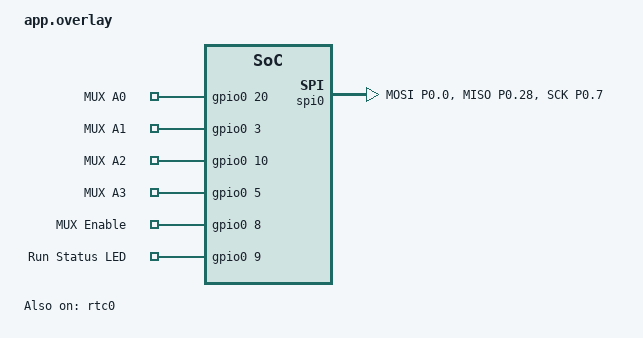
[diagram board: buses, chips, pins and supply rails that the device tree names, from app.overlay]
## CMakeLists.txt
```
#
# Copyright (c) 2018 Nordic Semiconductor
#
# SPDX-License-Identifier: LicenseRef-Nordic-5-Clause
#
cmake_minimum_required(VERSION 3.20.0)

find_package(Zephyr REQUIRED HINTS $ENV{ZEPHYR_BASE})
project(BLE_gas_sensor)

# NORDIC SDK APP START
target_sources(app PRIVATE
  src/main.c
)

# NORDIC SDK APP END
```

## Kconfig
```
#
# Copyright (c) 2018 Nordic Semiconductor
#
# SPDX-License-Identifier: LicenseRef-Nordic-5-Clause
#

source "Kconfig.zephyr"

menu "Nordic UART BLE GATT service sample"

config CONFIG_NFCT_PINS_AS_GPIOS
	bool "Configure NFC pins as GPIOs"
	default y
	help
	  "Configure NFC pins as GPIOs to enable A2 MUX Control Pin."

config BT_NUS_THREAD_STACK_SIZE
	int "Thread stack size"
	default 1024
	help
	  Stack size used in each of the two threads

config BT_NUS_UART_BUFFER_SIZE
	int "UART payload buffer element size"
	default 40
	help
	  Size of the payload buffer in each RX and TX FIFO element

config BT_NUS_SECURITY_ENABLED
	bool "Enable security"
	default y
	select BT_SMP
	help
	  "Enable BLE security for the UART service"

config BT_NUS_UART_RX_WAIT_TIME
	int "Timeout for UART RX complete event"
	default 50000
	help
	  Wait for RX complete event time in microseconds

config SETTINGS
	default y

config ZMS
	default y if (SOC_FLASH_NRF_RRAM || SOC_FLASH_NRF_MRAM)

config NVS
	default y if !(SOC_FLASH_NRF_RRAM || SOC_FLASH_NRF_MRAM)

endmenu
```

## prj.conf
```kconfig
#
# Copyright (c) 2018 Nordic Semiconductor
#
# SPDX-License-Identifier: LicenseRef-Nordic-5-Clause
#

CONFIG_NFCT_PINS_AS_GPIOS=y
CONFIG_GPIO_AS_PINRESET=y

CONFIG_CLOCK_CONTROL_NRF_K32SRC_RC=y
CONFIG_CLOCK_CONTROL_NRF_K32SRC_XTAL=n
CONFIG_CLOCK_CONTROL_NRF_K32SRC_RC_CALIBRATION=y

CONFIG_SPI=y
CONFIG_COUNTER=y
CONFIG_RTC=y

# Enable the UART driver
CONFIG_UART_ASYNC_API=y
CONFIG_NRFX_UARTE0=y
CONFIG_SERIAL=y

CONFIG_GPIO=y

# Make sure printk is printing to the UART console
CONFIG_CONSOLE=y
CONFIG_UART_CONSOLE=y

CONFIG_HEAP_MEM_POOL_SIZE=2048

CONFIG_BT=y
CONFIG_BT_PERIPHERAL=y
CONFIG_BT_DEVICE_NAME="MUX_GAS_SENSOR"
CONFIG_BT_MAX_CONN=1
CONFIG_BT_MAX_PAIRED=1

# Enable the NUS service
CONFIG_BT_NUS=y

# Enable bonding
CONFIG_BT_SETTINGS=y
CONFIG_FLASH=y
CONFIG_FLASH_PAGE_LAYOUT=y
CONFIG_FLASH_MAP=y

# Enable DK LED and Buttons library
CONFIG_DK_LIBRARY=y

CONFIG_SYSTEM_WORKQUEUE_STACK_SIZE=2048
# Config logger
CONFIG_LOG=y
CONFIG_USE_SEGGER_RTT=y
CONFIG_LOG_BACKEND_RTT=y
CONFIG_LOG_BACKEND_UART=n
CONFIG_LOG_PRINTK=n
# CONFIG_LOG_DEFAULT_LEVEL=2

CONFIG_ASSERT=y
```

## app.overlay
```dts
/*
 * Copyright (c) 2022 Nordic Semiconductor ASA
 *
 * SPDX-License-Identifier: LicenseRef-Nordic-5-Clause
 */

&spi1 {
    status = "disabled";
};

&spi2 {
    status = "disabled";
};

/* Configure SPI0 */
&spi0 {
    compatible = "nordic,nrf-spi";
    status = "okay";

    /* Pin configuration using new pinctrl syntax */
    pinctrl-0 = <&spi0_default>;
    pinctrl-1 = <&spi0_sleep>;
    pinctrl-names = "default", "sleep";

    /* CS pins are controlled manually via GPIO in code */
    cs-gpios = <&gpio0 6 (GPIO_ACTIVE_LOW | GPIO_PULL_UP)>,
               <&gpio0 4 (GPIO_ACTIVE_LOW | GPIO_PULL_UP)>;   /* ADC_CS_PIN */
};

/* Define pin configurations for SPI0 */
&pinctrl {
    spi0_default: spi0_default {
        group1 {
            psels = <NRF_PSEL(SPIM_MOSI, 0, 0)>,
                    <NRF_PSEL(SPIM_MISO, 0, 28)>;
        };

        group2 {
            psels = <NRF_PSEL(SPIM_SCK, 0, 7)>;
            bias-pull-up;
        };
    };
    
    spi0_sleep: spi0_sleep {
        group1 {
            psels = <NRF_PSEL(SPIM_SCK, 0, 7)>,
                    <NRF_PSEL(SPIM_MOSI, 0, 0)>,
                    <NRF_PSEL(SPIM_MISO, 0, 28)>;
            low-power-enable;
        };
    };
};

/* GPIO pin definitions for MUX control */
/ {
    aliases {
        mux-a0 = &mux_a0;
        mux-a1 = &mux_a1;
        mux-a2 = &mux_a2;
        mux-a3 = &mux_a3;
        mux-en = &mux_en;
    };

    /* Define GPIO pins used in application */
    gpio_pins {
        compatible = "gpio-keys";

        /* MUX control pins */
        mux_a0: mux_a0 {
            gpios = <&gpio0 20 GPIO_ACTIVE_HIGH>;  /* A0_PIN */
            label = "MUX A0";
        };

        mux_a1: mux_a1 {
            gpios = <&gpio0 3 GPIO_ACTIVE_HIGH>;   /* A1_PIN */
            label = "MUX A1";
        };

        mux_a2: mux_a2 {
            gpios = <&gpio0 10 GPIO_ACTIVE_HIGH>;  /* A2_PIN */
            label = "MUX A2";
        };

        mux_a3: mux_a3 {
            gpios = <&gpio0 5 GPIO_ACTIVE_HIGH>;   /* A3_PIN */
            label = "MUX A3";
        };

        mux_en: mux_en {
            gpios = <&gpio0 8 GPIO_ACTIVE_HIGH>;   /* EN_PIN */
            label = "MUX Enable";
        };

        run_led: run_led {
            gpios = <&gpio0 9 GPIO_ACTIVE_HIGH>;   /* RUN_STATUS_LED */
            label = "Run Status LED";
        };
    };
};

/* Ensure GPIO0 is enabled */
&gpio0 {
    status = "okay";
};

/* Disable unused peripherals to save power/resources */
&uart0 {
    status = "disabled";
};

&i2c0 {
    status = "disabled";
};

&i2c1 {
    status = "disabled";
};
&rtc0 {
    status = "okay";


};

&uicr {
    gpio-as-nreset;
};
```

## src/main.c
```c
/*
 * Copyright (c) 2018 Nordic Semiconductor ASA
 *
 * SPDX-License-Identifier: LicenseRef-Nordic-5-Clause
 */

/** @file
 *  @brief Nordic UART Bridge Service (NUS) sample
 */
#include <uart_async_adapter.h>

#include <zephyr/types.h>
#include <zephyr/kernel.h>
#include <zephyr/drivers/uart.h>
#include <zephyr/usb/usb_device.h>

#include <zephyr/device.h>
#include <zephyr/devicetree.h>
#include <soc.h>

#include <zephyr/bluetooth/bluetooth.h>
#include <zephyr/bluetooth/uuid.h>
#include <zephyr/bluetooth/gatt.h>
#include <zephyr/bluetooth/hci.h>

#include <zephyr/drivers/rtc.h>
#include <time.h>

#ifdef BT_UUID_NUS_VAL
#undef BT_UUID_NUS_VAL
#endif

#ifdef BT_UUID_NUS_TX_VAL
#undef BT_UUID_NUS_TX_VAL
#endif

// Define custom UUIDs

#define BT_UUID_NUS_VAL \
    BT_UUID_128_ENCODE(0x0000AAAA, 0x1212, 0xEFDE, 0x1523, 0x785FEF13D123)

#define BT_UUID_NUS_TX_VAL 0x1111

#include <bluetooth/services/nus.h>

#include <dk_buttons_and_leds.h>

#include <zephyr/settings/settings.h>

#include <stdio.h>
#include <string.h>
#include <stdint.h>

#include <zephyr/logging/log.h>

#include <zephyr/drivers/gpio.h>
#include <zephyr/drivers/spi.h>
#include <zephyr/drivers/counter.h>

#define BREADBOARD 0 // Set 1 for breadboard, 0 for PCB

// Get RTC Device
#define RTC_NODE DT_NODELABEL(rtc0)
static const struct device *rtc_dev = DEVICE_DT_GET(RTC_NODE);

// MUX Pins
#define A0_PIN 20
#define A1_PIN 3
#define A2_PIN 10
#define A3_PIN 5
#define EN_PIN 8

// SPI Chip Select Pins
#define DAC_CS_PIN 6
#define ADC_CS_PIN 4

// Get GPIO device
#define GPIO_NODE DT_NODELABEL(gpio0)
static const struct device *gpio_dev = DEVICE_DT_GET(GPIO_NODE);

// Get SPI Device
#define SPI_NODE DT_NODELABEL(spi0) 
static const struct device *spi_dev = DEVICE_DT_GET(SPI_NODE);

// SPI configuration for DAC (Mode 2: CPOL=1, CPHA=0)
static struct spi_config dac_spi_cfg = {
    .frequency = 250000,  // 250 kHz to match Segger SDK
    .operation = SPI_WORD_SET(8) | SPI_TRANSFER_MSB | SPI_OP_MODE_MASTER | SPI_MODE_CPOL,  // Mode 2
};

// SPI configuration for ADC (Mode 3: CPOL=1, CPHA=1) 
static struct spi_config adc_spi_cfg = {
    .frequency = 250000,  // 250 kHz
    .operation = SPI_WORD_SET(8) | SPI_TRANSFER_MSB | SPI_OP_MODE_MASTER | SPI_MODE_CPOL | SPI_MODE_CPHA,  // Mode 3
};

#if !BREADBOARD
static uint8_t m_tx_dac_use_internal_ref[] = {0b00111000, 0b00000000, 0b00000001};
static uint8_t m_tx_dac_set_500mV[] = {0b00011000, 0b00010011, 0b01100101};
static uint8_t m_tx_dac_set_1000mV[] = {0b00011000, 0b00100110, 0b11001010};
#endif

#if BREADBOARD
static uint8_t m_tx_dac_set_500mV_breadboard[] = {0b00000000, 0b00011001, 0b10011010};
#endif

static const uint8_t m_length_dac = 3;

#define MUX_SETTLE_DELAY K_MSEC(125)

#define LOG_MODULE_NAME peripheral_uart
LOG_MODULE_REGISTER(LOG_MODULE_NAME);

#define STACKSIZE CONFIG_BT_NUS_THREAD_STACK_SIZE
#define PRIORITY 7

#define DEVICE_NAME CONFIG_BT_DEVICE_NAME
#define DEVICE_NAME_LEN	(sizeof(DEVICE_NAME) - 1)

#define RUN_STATUS_LED 9
#define RUN_LED_BLINK_INTERVAL 1000

#define KEY_PASSKEY_ACCEPT DK_BTN1_MSK
#define KEY_PASSKEY_REJECT DK_BTN2_MSK

#define UART_BUF_SIZE CONFIG_BT_NUS_UART_BUFFER_SIZE
#define UART_WAIT_FOR_BUF_DELAY K_MSEC(50)
#define UART_WAIT_FOR_RX CONFIG_BT_NUS_UART_RX_WAIT_TIME

static K_SEM_DEFINE(ble_init_ok, 0, 1);

static struct bt_conn *current_conn;
static struct bt_conn *auth_conn;
static struct k_work adv_work;

static const struct bt_data ad[] = {
	BT_DATA_BYTES(BT_DATA_FLAGS, (BT_LE_AD_GENERAL | BT_LE_AD_NO_BREDR)),
	BT_DATA(BT_DATA_NAME_COMPLETE, DEVICE_NAME, DEVICE_NAME_LEN),
};

static const struct bt_data sd[] = {
	BT_DATA_BYTES(BT_DATA_UUID128_ALL, BT_UUID_NUS_VAL),
};

#ifdef CONFIG_UART_ASYNC_ADAPTER
UART_ASYNC_ADAPTER_INST_DEFINE(async_adapter);
#else
#define async_adapter NULL
#endif


static void adv_work_handler(struct k_work *work)
{
	int err = bt_le_adv_start(BT_LE_ADV_CONN_FAST_2, ad, ARRAY_SIZE(ad), sd, ARRAY_SIZE(sd));

	if (err) {
		LOG_ERR("Advertising failed to start (err %d)", err);
		return;
	}

	LOG_INF("Advertising successfully started");
}

static void advertising_start(void)
{
	k_work_submit(&adv_work);
}

static void connected(struct bt_conn *conn, uint8_t err)
{
	char addr[BT_ADDR_LE_STR_LEN];

	if (err) {
		LOG_ERR("Connection failed, err 0x%02x %s", err, bt_hci_err_to_str(err));
		return;
	}

	bt_addr_le_to_str(bt_conn_get_dst(conn), addr, sizeof(addr));
	LOG_INF("Connected %s", addr);

	current_conn = bt_conn_ref(conn);
    
	gpio_pin_set(gpio_dev, RUN_STATUS_LED, 1);
}

static void disconnected(struct bt_conn *conn, uint8_t reason)
{
	char addr[BT_ADDR_LE_STR_LEN];

	bt_addr_le_to_str(bt_conn_get_dst(conn), addr, sizeof(addr));

	LOG_INF("Disconnected: %s, reason 0x%02x %s", addr, reason, bt_hci_err_to_str(reason));

	if (auth_conn) {
		bt_conn_unref(auth_conn);
		auth_conn = NULL;
	}

	if (current_conn) {
		bt_conn_unref(current_conn);
		current_conn = NULL;
		gpio_pin_set(gpio_dev, RUN_STATUS_LED, 0);
	}
}

static void recycled_cb(void)
{
	LOG_INF("Connection object available from previous conn. Disconnect is complete!");
	advertising_start();
}

#ifdef CONFIG_BT_NUS_SECURITY_ENABLED
static void security_changed(struct bt_conn *conn, bt_security_t level,
			     enum bt_security_err err)
{
	char addr[BT_ADDR_LE_STR_LEN];

	bt_addr_le_to_str(bt_conn_get_dst(conn), addr, sizeof(addr));

	if (!err) {
		LOG_INF("Security changed: %s level %u", addr, level);
	} else {
		LOG_WRN("Security failed: %s level %u err %d %s", addr, level, err,
			bt_security_err_to_str(err));
	}
}
#endif

BT_CONN_CB_DEFINE(conn_callbacks) = {
	.connected        = connected,
	.disconnected     = disconnected,
	.recycled         = recycled_cb,
#ifdef CONFIG_BT_NUS_SECURITY_ENABLED
	.security_changed = security_changed,
#endif
};

#if defined(CONFIG_BT_NUS_SECURITY_ENABLED)
static void auth_passkey_display(struct bt_conn *conn, unsigned int passkey)
{
	char addr[BT_ADDR_LE_STR_LEN];

	bt_addr_le_to_str(bt_conn_get_dst(conn), addr, sizeof(addr));

	LOG_INF("Passkey for %s: %06u", addr, passkey);
}

static void auth_passkey_confirm(struct bt_conn *conn, unsigned int passkey)
{
	char addr[BT_ADDR_LE_STR_LEN];

	auth_conn = bt_conn_ref(conn);

	bt_addr_le_to_str(bt_conn_get_dst(conn), addr, sizeof(addr));

	LOG_INF("Passkey for %s: %06u", addr, passkey);

	if (IS_ENABLED(CONFIG_SOC_SERIES_NRF54HX) || IS_ENABLED(CONFIG_SOC_SERIES_NRF54LX)) {
		LOG_INF("Press Button 0 to confirm, Button 1 to reject.");
	} else {
		LOG_INF("Press Button 1 to confirm, Button 2 to reject.");
	}
}


static void auth_cancel(struct bt_conn *conn)
{
	char addr[BT_ADDR_LE_STR_LEN];

	bt_addr_le_to_str(bt_conn_get_dst(conn), addr, sizeof(addr));

	LOG_INF("Pairing cancelled: %s", addr);
}


static void pairing_complete(struct bt_conn *conn, bool bonded)
{
	char addr[BT_ADDR_LE_STR_LEN];

	bt_addr_le_to_str(bt_conn_get_dst(conn), addr, sizeof(addr));

	LOG_INF("Pairing completed: %s, bonded: %d", addr, bonded);
}


static void pairing_failed(struct bt_conn *conn, enum bt_security_err reason)
{
	char addr[BT_ADDR_LE_STR_LEN];

	bt_addr_le_to_str(bt_conn_get_dst(conn), addr, sizeof(addr));

	LOG_INF("Pairing failed conn: %s, reason %d %s", addr, reason,
		bt_security_err_to_str(reason));
}

static struct bt_conn_auth_cb conn_auth_callbacks = {
	.passkey_display = auth_passkey_display,
	.passkey_confirm = auth_passkey_confirm,
	.cancel = auth_cancel,
};

static struct bt_conn_auth_info_cb conn_auth_info_callbacks = {
	.pairing_complete = pairing_complete,
	.pairing_failed = pairing_failed
};
#else
static struct bt_conn_auth_cb conn_auth_callbacks;
static struct bt_conn_auth_info_cb conn_auth_info_callbacks;
#endif

void error(void)
{
	dk_set_leds_state(DK_ALL_LEDS_MSK, DK_NO_LEDS_MSK);

	while (true) {
		/* Spin for ever */
		k_sleep(K_MSEC(1000));
	}
}

#ifdef CONFIG_BT_NUS_SECURITY_ENABLED
static void num_comp_reply(bool accept)
{
	if (accept) {
		bt_conn_auth_passkey_confirm(auth_conn);
		LOG_INF("Numeric Match, conn %p", (void *)auth_conn);
	} else {
		bt_conn_auth_cancel(auth_conn);
		LOG_INF("Numeric Reject, conn %p", (void *)auth_conn);
	}

	bt_conn_unref(auth_conn);
	auth_conn = NULL;
}

void button_changed(uint32_t button_state, uint32_t has_changed)
{
	uint32_t buttons = button_state & has_changed;

	if (auth_conn) {
		if (buttons & KEY_PASSKEY_ACCEPT) {
			num_comp_reply(true);
		}

		if (buttons & KEY_PASSKEY_REJECT) {
			num_comp_reply(false);
		}
	}
}
#endif /* CONFIG_BT_NUS_SECURITY_ENABLED */

static void configure_gpio(void)
{
	int err;

#ifdef CONFIG_BT_NUS_SECURITY_ENABLED
	err = dk_buttons_init(button_changed);
	if (err) {
		LOG_ERR("Cannot init buttons (err: %d)", err);
	}
#endif /* CONFIG_BT_NUS_SECURITY_ENABLED */

	err = dk_leds_init();
	if (err) {
		LOG_ERR("Cannot init LEDs (err: %d)", err);
	}
}


static int gpio_init(void)
{
    int err;
    
    // Check if GPIO device is ready
    if (!device_is_ready(gpio_dev)) {
        LOG_ERR("GPIO device not ready");
        return -ENODEV;
    }
    
    // Configure GPIO pins as outputs
    err = gpio_pin_configure(gpio_dev, A0_PIN, GPIO_OUTPUT_INACTIVE);
    if (err) {
        LOG_ERR("Failed to configure A0 pin: %d", err);
        return err;
    }
    
    err = gpio_pin_configure(gpio_dev, A1_PIN, GPIO_OUTPUT_INACTIVE);
    if (err) {
        LOG_ERR("Failed to configure A1 pin: %d", err);
        return err;
    }
    
    err = gpio_pin_configure(gpio_dev, A2_PIN, GPIO_OUTPUT_INACTIVE);
    if (err) {
        LOG_ERR("Failed to configure A2 pin: %d", err);
        return err;
    }
    
    err = gpio_pin_configure(gpio_dev, A3_PIN, GPIO_OUTPUT_INACTIVE);
    if (err) {
        LOG_ERR("Failed to configure A3 pin: %d", err);
        return err;
    }
    
    err = gpio_pin_configure(gpio_dev, EN_PIN, GPIO_OUTPUT_ACTIVE);
    if (err) {
        LOG_ERR("Failed to configure EN pin: %d", err);
        return err;
    }

	err = gpio_pin_configure(gpio_dev, DAC_CS_PIN, GPIO_OUTPUT_ACTIVE);
    if (err) {
        LOG_ERR("Failed to configure DAC CS pin: %d", err);
        return err;
    }

	err = gpio_pin_configure(gpio_dev, ADC_CS_PIN, GPIO_OUTPUT_ACTIVE);
    if (err) {
        LOG_ERR("Failed to configure ADC CS pin: %d", err);
        return err;
    }

	err = gpio_pin_configure(gpio_dev, RUN_STATUS_LED, GPIO_OUTPUT_INACTIVE);
    if (err) {
        LOG_ERR("Failed to configure LED pin: %d", err);
        return err;
    }
    
    LOG_INF("GPIO initialized successfully!!");
    return 0;
}

static int dac_write(uint8_t *data, size_t len)
{
    struct spi_buf tx_buf = {
        .buf = data,
        .len = len
    };
    struct spi_buf_set tx = {
        .buffers = &tx_buf,
        .count = 1
    };

    gpio_pin_set(gpio_dev, DAC_CS_PIN, 0);
	k_busy_wait(1);
    int err = spi_write(spi_dev, &dac_spi_cfg, &tx);
	k_busy_wait(1);
	gpio_pin_set(gpio_dev, DAC_CS_PIN, 1);

	if (err) {
        LOG_ERR("DAC SPI write failed: %d", err);
    }
	return err;

}

static void set_mux_channel(uint8_t channel)
{
    gpio_pin_set(gpio_dev, A0_PIN, (channel >> 0) & 0x01);
    gpio_pin_set(gpio_dev, A1_PIN, (channel >> 1) & 0x01);
    gpio_pin_set(gpio_dev, A2_PIN, (channel >> 2) & 0x01);
    gpio_pin_set(gpio_dev, A3_PIN, (channel >> 3) & 0x01);
}

// External ADC Functions

static int ad7789_reset()
{
    uint8_t reset_cmd[5] = {0xFF, 0xFF, 0xFF, 0xFF, 0xFF};

	struct spi_buf tx_buf = {
        .buf = reset_cmd,
        .len = 5
    };
    struct spi_buf_set tx = {
        .buffers = &tx_buf,
        .count = 1
    };
    
    gpio_pin_set(gpio_dev, ADC_CS_PIN, 0);
	k_busy_wait(1);
    int err = spi_write(spi_dev, &adc_spi_cfg, &tx);
	k_busy_wait(1);
	gpio_pin_set(gpio_dev, ADC_CS_PIN, 1);

	if (err) {
        LOG_ERR("AD7789 reset failed: %d", err);
    }
	return err;
}

uint8_t ad7789_read_status()
{
    uint8_t tx_data[2] = {0x08, 0x00};
    uint8_t rx_data[2] = {0};

	struct spi_buf tx_buf = {
        .buf = tx_data,
        .len = 2
    };
    struct spi_buf_set tx = {
        .buffers = &tx_buf,
        .count = 1
    };

	struct spi_buf rx_buf = {
        .buf = rx_data,
        .len = 2
    };
    struct spi_buf_set rx = {
        .buffers = &rx_buf,
        .count = 1
    };
    
	gpio_pin_set(gpio_dev, ADC_CS_PIN, 0);
	k_busy_wait(1);
    int err = spi_transceive(spi_dev, &adc_spi_cfg, &tx, &rx);
	k_busy_wait(1);
	gpio_pin_set(gpio_dev, ADC_CS_PIN, 1);
	k_busy_wait(1);

	if (err) {
        LOG_ERR("AD7789 Read Status Error: %d", err);
    }
    
    return rx_data[1];
}

bool ad7789_wait_for_data(uint32_t timeout_ms)
{
    uint32_t elapsed = 0;
    uint8_t status;
    
    do {
        status = ad7789_read_status();
        
        // Check if RDY bit (bit 7) is cleared
        if ((status & 0x80) == 0) {
            // Data is ready
            if (status & 0x40) {
                LOG_WRN("Data ready but ERR flag set! Status: 0x%02X", status);
            }
            return true;
        }
        
        k_busy_wait(10);
        elapsed += 10;
        
        if (elapsed >= timeout_ms) {
            LOG_WRN("Timeout waiting for data. Status: 0x%02X", status);
            return false;
        }
    } while (1);
}

uint32_t ad7789_read_data()
{
    // Wait for data to be ready
    if (!ad7789_wait_for_data(5000)) {
        LOG_ERR("No data ready!");
        return 0xFFFFFFFF;
    }
    
    // Read data register in one transaction
    uint8_t tx_data[4] = {0x38, 0x00, 0x00, 0x00}; // Read data register
    uint8_t rx_data[4] = {0};

	struct spi_buf tx_buf = {
        .buf = tx_data,
        .len = 4
    };
    struct spi_buf_set tx = {
        .buffers = &tx_buf,
        .count = 1
    };

	struct spi_buf rx_buf = {
        .buf = rx_data,
        .len = 4
    };
    struct spi_buf_set rx = {
        .buffers = &rx_buf,
        .count = 1
    };

	gpio_pin_set(gpio_dev, ADC_CS_PIN, 0);
	k_busy_wait(1);
    int err = spi_transceive(spi_dev, &adc_spi_cfg, &tx, &rx);
	k_busy_wait(1);
	gpio_pin_set(gpio_dev, ADC_CS_PIN, 1);
	k_busy_wait(1);

	if (err) {
        LOG_ERR("AD7789 Read Status Error: %d", err);
    }
    
    // Combine bytes
    uint32_t adc_value = ((uint32_t)rx_data[1] << 16) | 
                         ((uint32_t)rx_data[2] << 8) | 
                         rx_data[3];
    
    return adc_value;
}

float convert_voltage(float adc_value)
{
	// Bipolar mode: Code = 2^23 × ((VIN / VREF) + 1)
    // VIN = ((Code / 2^23) - 1) × VREF
	// VIN+ = VIN + VIN-
    float normalized = adc_value / 8388608.0f; // 2^23
    return ((normalized - 1.0f) * 2.717f) + 2.698f; // VREF = 2.717V	VIN- = 2.698V
}

// Get timestamp in milliseconds since startup
uint32_t get_timestamp_ms(void)
{

	return k_uptime_get_32();

}

int main(void)
{
	int err = 0;

	configure_gpio();
	
	err = gpio_init();
    if (err) {
        LOG_ERR("Failed to initialize GPIO: %d", err);
        error();
    }

	k_msleep(5);

    // Initialize RTC
    if (!device_is_ready(rtc_dev)) {
        LOG_ERR("RTC device not ready");
        error();
    }

    // Start the counter
    counter_start(rtc_dev);
    LOG_INF("RTC initialized and started");

	k_msleep(5);

	if (!device_is_ready(spi_dev)) {
        LOG_ERR("SPI device not ready");
		error();
    }

	k_msleep(5);
	// Initialize DAC with internal reference to 0.5V
	#if !BREADBOARD
	dac_write(m_tx_dac_use_internal_ref, m_length_dac);
	k_msleep(5);
	dac_write(m_tx_dac_set_500mV, m_length_dac);
	#endif

	#if BREADBOARD
	dac_write(m_tx_dac_set_500mV_breadboard, m_length_dac);
	#endif
	LOG_INF("DAC initialized successfully");


	ad7789_reset();
	LOG_INF("ADC Reset Successful");

	if (IS_ENABLED(CONFIG_BT_NUS_SECURITY_ENABLED)) {
		err = bt_conn_auth_cb_register(&conn_auth_callbacks);
		if (err) {
			LOG_ERR("Failed to register authorization callbacks. (err: %d)", err);
			return 0;
		}

		err = bt_conn_auth_info_cb_register(&conn_auth_info_callbacks);
		if (err) {
			LOG_ERR("Failed to register authorization info callbacks. (err: %d)", err);
			return 0;
		}
	}

	err = bt_enable(NULL);
	if (err) {
		error();
	}

	LOG_INF("Bluetooth initialized");

	k_sem_give(&ble_init_ok);

	if (IS_ENABLED(CONFIG_SETTINGS)) {
		settings_load();
	}

	err = bt_nus_init(NULL);
	if (err) {
		LOG_ERR("Failed to initialize UART service (err: %d)", err);
		return 0;
	}

	k_work_init(&adv_work, adv_work_handler);
	advertising_start();

	gpio_pin_set(gpio_dev, RUN_STATUS_LED, 1);

	 // Wait for BLE to initialize
    k_sem_take(&ble_init_ok, K_FOREVER);

	// Create packet data string
	char packet_data[10];
	packet_data[0] = 0x05;

	uint32_t timestamp;
	int channel;
	uint32_t sensor_data[10];
	float sensor_voltage;
	int num_samples = 3;

	for (;;) {
		
		// Loop through all 16 channels
		for (channel = 0; channel < 16; channel++) {

			if (channel == 10) {
				dac_write(m_tx_dac_set_1000mV, m_length_dac); // Set Channel 11 bias to 1.0V
			}

			set_mux_channel(channel);
			k_sleep(MUX_SETTLE_DELAY);

			int sum = 0;

			// Average 3 samples of the channel
			for (int sample = 0; sample < num_samples; sample++) {
				sensor_data[sample] = ad7789_read_data();
				LOG_INF("ADC read: %d, %u", sample, sensor_data[sample]);
				sum += sensor_data[sample];
			}

			sensor_voltage = convert_voltage((float)sum / (float)num_samples);
			// Add timestamp (4 bytes)
			timestamp = get_timestamp_ms();

			memcpy(&packet_data[1], &timestamp, sizeof(uint32_t));

			packet_data[5] = (uint8_t)channel; // Channel Number

			memcpy(&packet_data[6], &sensor_voltage, sizeof(float));
			// // Add sensor data as 3 bytes
			// packet_data[6] = (unsigned char)(sensor_data & 0xFF);
    		// packet_data[7] = (unsigned char)((sensor_data >> 8) & 0xFF);
			// packet_data[8] = (unsigned char)((sensor_data >> 16) & 0xFF);

			// If connected, send data over BLE
			if (current_conn) {

				gpio_pin_set(gpio_dev, RUN_STATUS_LED, 1);
				
				if (bt_nus_send(NULL, packet_data, sizeof(packet_data))) {
					LOG_WRN("Failed to send sensor data");
				} else {
					LOG_INF("Sent Data: %u, %d, %f", timestamp, channel, sensor_voltage);
				}

				gpio_pin_set(gpio_dev, RUN_STATUS_LED, 0);
			}

			if (channel == 10) {
				dac_write(m_tx_dac_set_500mV, m_length_dac); // Return bias to 500mV
			}
		}
		
	}
}
```
